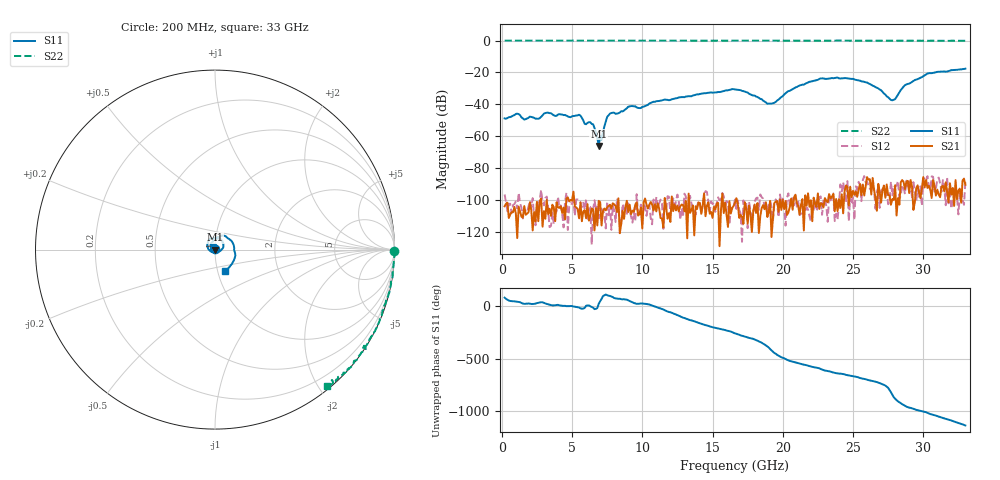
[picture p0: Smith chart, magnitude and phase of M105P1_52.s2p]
# GHZ S RI R 50
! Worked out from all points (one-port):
!   329 points, 200 MHz to 33 GHz, reference 50 ohm
!   lowest |S11| = -66.0 dB at 6.9 GHz (marker M1), VSWR 1.00, Z = 50 + j0.0218 ohm
!   |S11| at or under -10 dB: start of sweep to end of sweep
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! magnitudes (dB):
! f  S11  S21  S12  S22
! 200 MHz  -48.8  -103.9  -96.5  0.0
! 1.1 GHz  -45.8  -123.8  -105.2  0.0
! 2.6 GHz  -49.0  -113.3  -106.2  0.0
! 3.2 GHz  -45.2  -99.9  -97.8  0.0
! 5.7 GHz  -48.4  -113.2  -104.4  0.0
! 5.9 GHz  -52.2  -106.3  -106.0  0.0
! 6.5 GHz  -52.5  -106.0  -106.1  0.0
! 6.9 GHz  -66.0  -100.5  -111.5  0.0
! 7 GHz  -60.0  -101.2  -102.6  0.0
! 7.1 GHz  -62.0  -115.9  -106.0  0.0
! 7.5 GHz  -47.8  -104.5  -100.9  0.0
! 7.7 GHz  -45.8  -103.0  -102.9  0.0
! 11.2 GHz  -37.9  -105.3  -102.0  0.0
! 16.6 GHz  -30.6  -101.8  -99.7  0.0
! 19.2 GHz  -39.5  -123.2  -104.1  0.0
! 22.1 GHz  -25.5  -113.2  -106.2  0.0
! 25 GHz  -24.0  -94.2  -98.3  0.0
! 27.6 GHz  -36.4  -97.1  -100.6  0.0
! 28 GHz  -36.7  -90.7  -91.6  0.0
! 28.7 GHz  -27.9  -93.2  -96.3  -0.1
! 30.3 GHz  -20.7  -92.3  -85.0  -0.1
! 33 GHz  -17.6  -90.4  -88.3  -0.1
